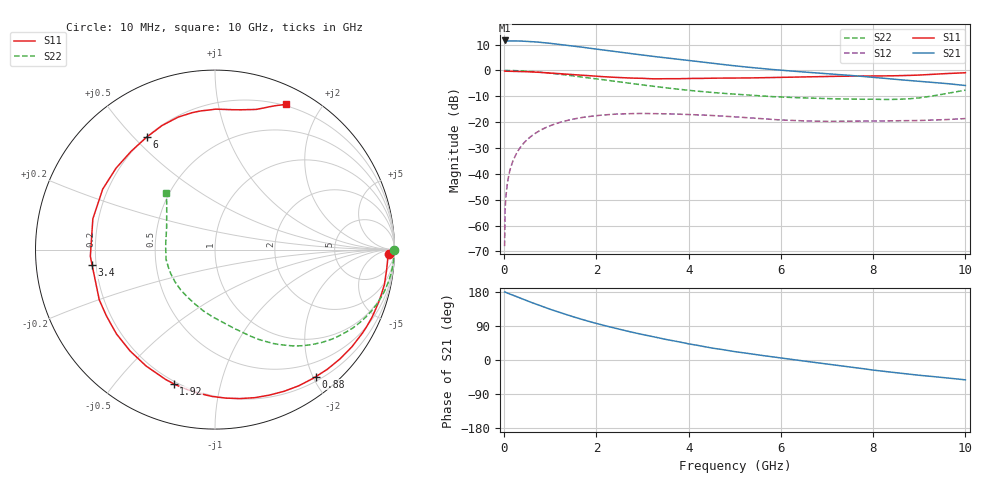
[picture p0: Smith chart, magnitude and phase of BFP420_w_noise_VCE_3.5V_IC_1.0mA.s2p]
! Infineon Technologies  Discrete & RF Semiconductors
! BFP420
! VCE =  3.5 V,  IC =  1.0 mA
! Common Emitter S-Parameters:  Jan 2016
# GHz  S  MA  R  50
!  f  S11  S21  S12  S22
! GHz  MAG  ANG  MAG  ANG  MAG  ANG  MAG  ANG
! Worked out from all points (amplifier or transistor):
!   233 points, 10 MHz to 10 GHz, reference 50 ohm
!   highest |S21| = 11.6 dB at 10 MHz (marker M1)
!   |S21| within 3 dB of that: start of sweep to 1.854 GHz
!   unconditionally stable (mu >= 1): 4.318 GHz to end of sweep
!   at 200 MHz: K = 0.02, MSG = 23.0 dB, |S12| = -34.6 dB
!   at 1.74 GHz: K = 0.27, MSG = 13.5 dB, |S12| = -18.1 dB
!   at 10 GHz: K = 1.35, MAG = 2.9 dB, |S12| = -18.6 dB
!   lowest NFmin = 0.53 dB at 900 MHz
!   S11 on the Smith chart (normalised r, x): 10 MHz: 36, -33; 880 MHz: 0.27, -2.05; 1.92 GHz: 0.19, -0.72; 3.4 GHz: 0.18, -0.06; 6 GHz: 0.20, +0.54; 10 GHz: 0.18, +1.59
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0.01  0.9705 -1.6  3.795 179.4  0.0004 111.6  0.9978 -0.1
0.015  0.9687 -1.5  3.734 179.4  0.0011 87.4  0.9974 -0.3
0.02  0.9669 -1.3  3.674 179.3  0.0019 82.5  0.997 -0.6
0.04  0.9648 -2.3  3.695 178.2  0.0038 86.4  0.9973 -1.2
0.09  0.9632 -5.4  3.718 175.8  0.0085 86.1  0.997 -2.8
0.17  0.9625 -10.0  3.727 172.0  0.0159 83.8  0.9938 -5.3
0.3  0.9579 -17.7  3.708 165.7  0.0279 79.4  0.9862 -9.4
0.48  0.9457 -28.2  3.653 157.2  0.0441 73.1  0.9679 -14.9
0.7  0.9251 -41.2  3.548 146.9  0.0628 65.4  0.9368 -21.4
0.88  0.9036 -51.5  3.421 138.9  0.0768 59.2  0.9058 -26.4
1.2  0.8653 -69.6  3.185 125.4  0.0985 49.1  0.844 -34.6
1.68  0.8082 -95.1  2.821 107.4  0.1226 35.2  0.7478 -45.2
1.92  0.7822 -107.1  2.642 99.1  0.1312 28.9  0.7013 -49.9
2.6  0.7226 -139.4  2.205 78.1  0.1453 13.1  0.5825 -61.4
3  0.7029 -156.6  1.985 67.2  0.1472 5.2  0.5238 -67.4
3.4  0.69 -172.8  1.795 57.2  0.1456 -1.6  0.4729 -73.3
4  0.7018 165.9  1.561 42.6  0.1412 -10.2  0.4121 -83.0
5.1  0.7135 138.5  1.201 20.5  0.1249 -20.8  0.3421 -102.4
6  0.7332 121.3  1.009 5.3  0.11 -24.0  0.3063 -119.8
6.8  0.7588 108.6  0.889 -7.5  0.1043 -22.9  0.2883 -137.0
8.4  0.7857 82.7  0.682 -32.2  0.106 -21.9  0.2749 178.0
10  0.9012 63.9  0.511 -52.4  0.1172 -20.2  0.4155 130.6
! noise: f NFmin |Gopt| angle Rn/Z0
0.9  0.53  0.67  34  0.35
1.8  1.15  0.44  77  0.27
2.4  1.28  0.44  100  0.22
3  1.61  0.45  131  0.15
4  1.9  0.47  -177  0.09
5  2.32  0.44  -133  0.45
6  3.43  0.6  -118  0.25
